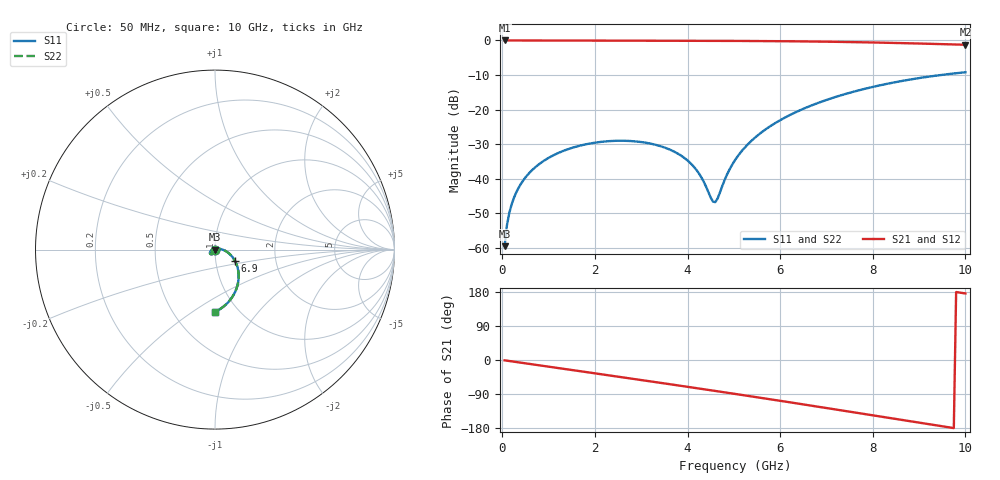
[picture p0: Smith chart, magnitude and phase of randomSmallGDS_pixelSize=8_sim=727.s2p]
! freq	dB(S11)	phase(S11)	dB(S12)	phase(S12)
!  dB(S21)	phase(S21)	dB(S22)	phase(S22)
!S-par simulation data
#  GHz  S  DB  R 50
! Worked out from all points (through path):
!   200 points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, 50 MHz to 10 GHz, reference 50 ohm
!   highest |S21| = 0.00 dB at 50 MHz (marker M1); lowest = -1.2 dB at 10 GHz (marker M2)
!   group delay of S21, straight-line fit = 51.3 ps
!   lowest |S11| = -59.6 dB at 50 MHz (marker M3), VSWR 1.00, Z = 50 - j0.105 ohm
!   |S11| at or under -10 dB: start of sweep to 9.475 GHz
!   |S22| runs from -59.6 to -9.2 dB; largest |S21 - S12| = 0
!   S11 on the Smith chart (normalised r, x): 50 MHz: 1.00, -0.00; 6.9 GHz: 1.24, -0.17; 10 GHz: 0.79, -0.62
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0.05  -59.59 -89.6  -0.00 -0.9  -0.00 -0.9  -59.59 -89.6
0.1  -53.57 -91.3  -0.00 -1.8  -0.00 -1.8  -53.57 -91.3
0.2  -47.56 -93.6  -0.00 -3.5  -0.00 -3.5  -47.56 -93.6
0.35  -42.72 -96.6  -0.01 -6.2  -0.01 -6.2  -42.72 -96.6
0.5  -39.68 -99.5  -0.01 -8.8  -0.01 -8.8  -39.68 -99.5
1  -34.01 -108.8  -0.02 -17.6  -0.02 -17.6  -34.01 -108.8
1.75  -30.24 -122.8  -0.04 -30.8  -0.04 -30.8  -30.24 -122.8
2.6  -29.05 -138.8  -0.06 -45.7  -0.06 -45.7  -29.05 -138.8
3.4  -30.55 -155.2  -0.07 -60.0  -0.07 -60.0  -30.55 -155.2
3.8  -32.85 -165.3  -0.08 -67.1  -0.08 -67.1  -32.85 -165.2
4.1  -36.05 -175.9  -0.09 -72.5  -0.09 -72.5  -36.05 -175.9
4.3  -39.69 171.4  -0.10 -76.2  -0.10 -76.2  -39.69 171.4
4.55  -46.68 115.6  -0.11 -80.7  -0.11 -80.7  -46.71 115.6
4.6  -46.83 92.5  -0.11 -81.6  -0.11 -81.6  -46.86 92.5
4.85  -38.92 29.6  -0.12 -86.2  -0.12 -86.2  -38.92 29.5
5.05  -34.17 15.9  -0.14 -89.9  -0.14 -89.9  -34.17 15.8
5.35  -29.45 4.7  -0.15 -95.5  -0.15 -95.5  -29.45 4.7
5.7  -25.62 -4.5  -0.18 -102.0  -0.18 -102.0  -25.62 -4.6
6.7  -18.70 -26.2  -0.30 -121.0  -0.30 -121.0  -18.70 -26.2
6.9  -17.70 -30.2  -0.34 -124.8  -0.34 -124.8  -17.70 -30.2
8.35  -12.45 -58.7  -0.68 -152.8  -0.68 -152.8  -12.45 -58.7
10  -9.21 -89.8  -1.24 175.5  -1.24 175.5  -9.21 -89.8
